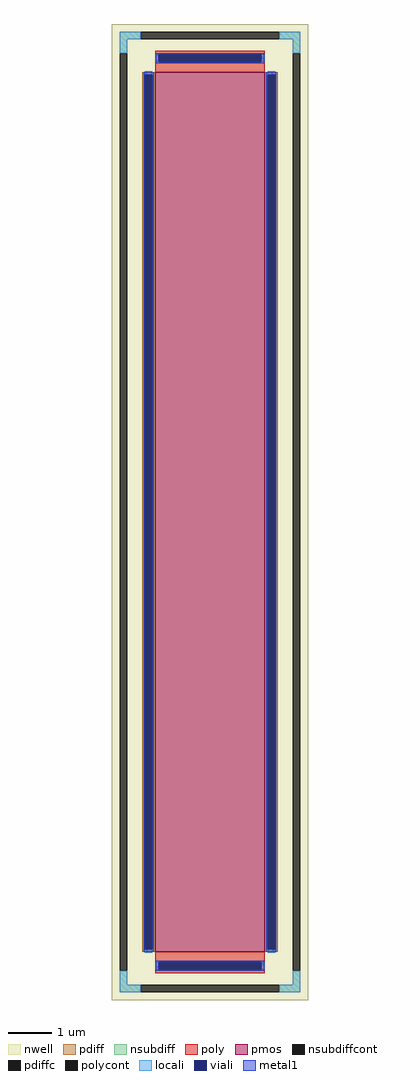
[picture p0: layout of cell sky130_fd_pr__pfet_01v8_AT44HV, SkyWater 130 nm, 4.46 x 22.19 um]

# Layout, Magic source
magic
tech sky130A
magscale 1 2
<< nwell >>
rect -446 -2219 446 2219
<< pmos >>
rect -250 -2000 250 2000
<< pdiff >>
rect -308 1988 -250 2000
rect -308 -1988 -296 1988
rect -262 -1988 -250 1988
rect -308 -2000 -250 -1988
rect 250 1988 308 2000
rect 250 -1988 262 1988
rect 296 -1988 308 1988
rect 250 -2000 308 -1988
<< pdiffc >>
rect -296 -1988 -262 1988
rect 262 -1988 296 1988
<< nsubdiff >>
rect -410 2149 -314 2183
rect 314 2149 410 2183
rect -410 2087 -376 2149
rect 376 2087 410 2149
rect -410 -2149 -376 -2087
rect 376 -2149 410 -2087
rect -410 -2183 -314 -2149
rect 314 -2183 410 -2149
<< nsubdiffcont >>
rect -314 2149 314 2183
rect -410 -2087 -376 2087
rect 376 -2087 410 2087
rect -314 -2183 314 -2149
<< poly >>
rect -250 2081 250 2097
rect -250 2047 -234 2081
rect 234 2047 250 2081
rect -250 2000 250 2047
rect -250 -2047 250 -2000
rect -250 -2081 -234 -2047
rect 234 -2081 250 -2047
rect -250 -2097 250 -2081
<< polycont >>
rect -234 2047 234 2081
rect -234 -2081 234 -2047
<< locali >>
rect -410 2149 -314 2183
rect 314 2149 410 2183
rect -410 2087 -376 2149
rect 376 2087 410 2149
rect -250 2047 -234 2081
rect 234 2047 250 2081
rect -296 1988 -262 2004
rect -296 -2004 -262 -1988
rect 262 1988 296 2004
rect 262 -2004 296 -1988
rect -250 -2081 -234 -2047
rect 234 -2081 250 -2047
rect -410 -2149 -376 -2087
rect 376 -2149 410 -2087
rect -410 -2183 -314 -2149
rect 314 -2183 410 -2149
<< viali >>
rect -234 2047 234 2081
rect -296 -1988 -262 1988
rect 262 -1988 296 1988
rect -234 -2081 234 -2047
<< metal1 >>
rect -246 2081 246 2087
rect -246 2047 -234 2081
rect 234 2047 246 2081
rect -246 2041 246 2047
rect -302 1988 -256 2000
rect -302 -1988 -296 1988
rect -262 -1988 -256 1988
rect -302 -2000 -256 -1988
rect 256 1988 302 2000
rect 256 -1988 262 1988
rect 296 -1988 302 1988
rect 256 -2000 302 -1988
rect -246 -2047 246 -2041
rect -246 -2081 -234 -2047
rect 234 -2081 246 -2047
rect -246 -2087 246 -2081
<< properties >>
string FIXED_BBOX -393 -2166 393 2166
string gencell sky130_fd_pr__pfet_01v8
string library sky130
string parameters w 20.0 l 2.5 m 1 nf 1 diffcov 100 polycov 100 guard 1 glc 1 grc 1 gtc 1 gbc 1 tbcov 100 rlcov 100 topc 1 botc 1 poverlap 0 doverlap 1 lmin 0.15 wmin 0.42 class mosfet compatible {sky130_fd_pr__pfet_01v8  sky130_fd_pr__pfet_01v8_lvt sky130_fd_pr__pfet_01v8_hvt  sky130_fd_pr__pfet_g5v0d10v5} full_metal 1 viasrc 100 viadrn 100 viagate 100 viagb 0 viagr 0 viagl 0 viagt 0 ad {int((nf+1)/2) * W/nf * 0.29} as {int((nf+2)/2) * W/nf * 0.29} pd {2*int((nf+1)/2) * (W/nf + 0.29)} ps {2*int((nf+2)/2) * (W/nf + 0.29)} nrd {0.29 / W} nrs {0.29 / W} sa 0 sb 0 sd 0 mult 1
<< end >>
